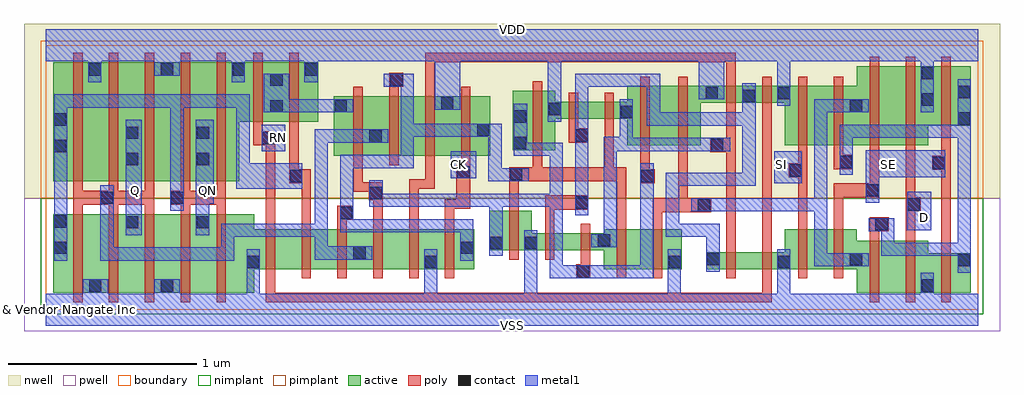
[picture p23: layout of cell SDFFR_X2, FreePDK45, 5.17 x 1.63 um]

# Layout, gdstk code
import gdstk
lib = gdstk.Library(unit=1e-6, precision=1e-10)
def R(c, l, rs):  # rectangles x0, y0, x1, y1
    for r in rs: c.add(gdstk.rectangle(r[:2], r[2:], *l))
def A(c, l, x, y, w, h, nx, ny, dx, dy):  # array of equal rectangles
    R(c, l, [(x+i*dx, y+j*dy, x+i*dx+w, y+j*dy+h) for i in range(nx) for j in range(ny)])
def P(c, l, *ps):  # polygons
    for p in ps: c.add(gdstk.Polygon(p, *l))
active = (1, 0)
pwell = (2, 0)
nwell = (3, 0)
nimplant = (4, 0)
pimplant = (5, 0)
poly = (9, 0)
contact = (10, 0)
metal1 = (11, 0)
boundary = (235, 0)

sdffr_x2 = lib.new_cell('SDFFR_X2')
R(sdffr_x2, active, [(1.525,0.815,2.355,1.13)])
P(sdffr_x2, active, [(0.04,0.68),(0.04,1.31),(1.445,1.31),(1.445,0.995),(1.025,0.995),(1.025,0.68)],
  [(0.04,0.09),(0.04,0.505),(1.105,0.505),(1.105,0.425),(2.27,0.425),(2.27,0.215),(1.105,0.215),(1.105,0.09)],
  [(2.955,0.215),(2.955,0.315),(2.35,0.315),(2.35,0.525),(2.575,0.525),(2.575,0.405),(2.955,0.405),(2.955,0.425),(3.37,0.425),(3.37,0.215)],
  [(4.295,0.09),(4.295,0.215),(3.5,0.215),(3.5,0.305),(3.915,0.305),(3.915,0.425),(4.295,0.425),(4.295,0.365),(4.675,0.365),(4.675,0.3),(4.9,0.3),(4.9,0.09)],
  [(2.475,0.845),(2.475,1.16),(2.7,1.16),(2.7,1.1),(3.08,1.1),(3.08,1.185),(4.295,1.185),(4.295,1.29),(4.9,1.29),(4.9,0.975),(4.675,0.975),(4.675,0.87),(3.915,0.87),(3.915,1.095),(3.47,1.095),(3.47,0.87),(3.08,0.87),(3.08,1.01),(2.7,1.01),(2.7,0.845)])
R(sdffr_x2, pwell, [(-0.115,-0.115,5.055,0.59)])
R(sdffr_x2, nwell, [(-0.115,0.59,5.055,1.515)])
R(sdffr_x2, nimplant, [(-0.025,-0.025,4.965,0.59)])
R(sdffr_x2, pimplant, [(-0.025,0.59,4.965,1.425)])
P(sdffr_x2, poly, [(0.145,0.04),(0.145,1.36),(0.195,1.36),(0.195,0.63),(0.335,0.63),(0.335,1.36),(0.385,1.36),(0.385,0.63),(0.525,0.63),(0.525,1.36),(0.575,1.36),(0.575,0.04),(0.525,0.04),(0.525,0.555),(0.385,0.555),(0.385,0.04),(0.335,0.04),(0.335,0.555),(0.195,0.555),(0.195,0.04)],
  [(0.715,0.04),(0.715,0.555),(0.66,0.555),(0.66,0.63),(0.715,0.63),(0.715,1.36),(0.765,1.36),(0.765,0.63),(0.905,0.63),(0.905,1.36),(0.955,1.36),(0.955,0.04),(0.905,0.04),(0.905,0.555),(0.765,0.555),(0.765,0.04)],
  [(1.355,0.165),(1.355,0.67),(1.29,0.67),(1.29,1.36),(1.34,1.36),(1.34,0.745),(1.405,0.745),(1.405,0.165)],
  [(1.545,0.165),(1.545,0.55),(1.63,0.55),(1.63,0.475),(1.595,0.475),(1.595,0.165)],
  [(1.735,0.165),(1.735,0.58),(1.71,0.58),(1.71,0.625),(1.63,0.625),(1.63,1.18),(1.68,1.18),(1.68,0.675),(1.785,0.675),(1.785,0.165)],
  [(1.82,0.765),(1.82,1.255),(1.895,1.255),(1.895,1.18),(1.87,1.18),(1.87,0.765)],
  [(2.115,0.165),(2.115,0.585),(2.175,0.585),(2.175,0.765),(2.2,0.765),(2.2,1.18),(2.25,1.18),(2.25,0.535),(2.165,0.535),(2.165,0.165)],
  [(2.645,0.265),(2.645,0.605),(2.875,0.605),(2.875,0.53),(2.695,0.53),(2.695,0.265)],
  [(2.77,0.885),(2.77,1.15),(2.82,1.15),(2.82,0.96),(2.875,0.96),(2.875,0.885)],
  [(2.81,0.165),(2.81,0.24),(2.835,0.24),(2.835,0.455),(2.885,0.455),(2.885,0.165)],
  [(3.025,0.165),(3.025,0.68),(2.505,0.68),(2.505,0.265),(2.455,0.265),(2.455,0.755),(2.58,0.755),(2.58,1.21),(2.63,1.21),(2.63,0.755),(2.96,0.755),(2.96,1.15),(3.01,1.15),(3.01,0.755),(3.075,0.755),(3.075,0.165)],
  [(3.15,0.67),(3.15,1.235),(3.2,1.235),(3.2,0.745),(3.225,0.745),(3.225,0.67)],
  [(3.215,0.165),(3.215,0.59),(3.35,0.59),(3.35,1.235),(3.4,1.235),(3.4,0.59),(3.525,0.59),(3.525,0.515),(3.265,0.515),(3.265,0.165)],
  [(1.925,0.165),(1.925,0.69),(2.01,0.69),(2.01,1.36),(3.655,1.36),(3.655,0.165),(3.605,0.165),(3.605,0.835),(3.52,0.835),(3.52,0.91),(3.605,0.91),(3.605,1.31),(2.06,1.31),(2.06,0.64),(1.975,0.64),(1.975,0.165)],
  [(1.165,0.04),(1.165,0.87),(1.1,0.87),(1.1,1.36),(1.15,1.36),(1.15,0.945),(1.215,0.945),(1.215,0.09),(3.795,0.09),(3.795,1.235),(3.845,1.235),(3.845,0.04)],
  [(3.985,0.165),(3.985,0.7),(3.935,0.7),(3.935,0.775),(3.985,0.775),(3.985,1.235),(4.035,1.235),(4.035,0.165)],
  [(4.175,0.745),(4.175,1.235),(4.225,1.235),(4.225,0.82),(4.275,0.82),(4.275,0.745)],
  [(4.175,0.165),(4.175,0.67),(4.365,0.67),(4.365,1.34),(4.415,1.34),(4.415,0.595),(4.225,0.595),(4.225,0.165)],
  [(4.365,0.04),(4.365,0.49),(4.465,0.49),(4.465,0.415),(4.415,0.415),(4.415,0.04)],
  [(4.555,0.04),(4.555,1.34),(4.605,1.34),(4.605,0.595),(4.635,0.595),(4.635,0.52),(4.605,0.52),(4.605,0.04)],
  [(4.745,0.04),(4.745,0.74),(4.695,0.74),(4.695,0.815),(4.745,0.815),(4.745,1.34),(4.795,1.34),(4.795,0.04)])
A(sdffr_x2, contact, 0.23, 1.24, 0.065, 0.065, 3, 1, 0.38, 0)
R(sdffr_x2, contact, [(0.23,0.095,0.295,0.16), (0.61,0.095,0.675,0.16), (4.64,0.095,4.705,0.16), (2.815,0.17,2.88,0.235), (1.065,0.22,1.13,0.285), (2.01,0.22,2.075,0.285), (3.3,0.22,3.365,0.285), (3.88,0.22,3.945,0.285), (4.83,0.23,4.895,0.295), (3.505,0.235,3.57,0.3), (4.26,0.235,4.325,0.3), (1.63,0.27,1.695,0.335), (0.045,0.295,0.11,0.36), (2.2,0.295,2.265,0.36), (2.355,0.32,2.42,0.385), (2.54,0.32,2.605,0.385), (2.925,0.335,2.99,0.4), (4.395,0.42,4.46,0.485), (0.425,0.43,0.49,0.495), (0.8,0.43,0.865,0.495), (0.045,0.435,0.11,0.5), (1.56,0.48,1.625,0.545), (3.455,0.52,3.52,0.585), (4.565,0.525,4.63,0.59), (2.805,0.535,2.87,0.6), (0.29,0.56,0.355,0.625), (0.665,0.56,0.73,0.625), (1.715,0.585,1.78,0.65), (4.345,0.6,4.41,0.665), (1.295,0.675,1.36,0.74), (3.155,0.675,3.22,0.74), (2.46,0.685,2.525,0.75), (2.18,0.695,2.245,0.76), (3.94,0.705,4.005,0.77), (4.7,0.745,4.765,0.81), (4.205,0.75,4.27,0.815), (0.425,0.765,0.49,0.83), (0.8,0.765,0.865,0.83), (0.045,0.835,0.11,0.9), (3.525,0.84,3.59,0.905), (2.48,0.85,2.545,0.915), (1.145,0.875,1.21,0.94), (1.715,0.885,1.78,0.95), (2.805,0.89,2.87,0.955), (0.425,0.905,0.49,0.97), (0.8,0.905,0.865,0.97), (2.285,0.92,2.35,0.985), (0.045,0.975,0.11,1.04), (4.83,0.98,4.895,1.045), (2.48,0.99,2.545,1.055), (3.045,1.015,3.11,1.08), (2.665,1.03,2.73,1.095), (1.19,1.045,1.255,1.11), (1.53,1.045,1.595,1.11), (4.26,1.045,4.325,1.11), (2.095,1.06,2.16,1.125), (4.64,1.08,4.705,1.145), (3.69,1.1,3.755,1.165), (3.495,1.115,3.56,1.18), (3.88,1.115,3.945,1.18), (4.83,1.12,4.895,1.185), (1.19,1.185,1.255,1.25), (1.825,1.185,1.89,1.25), (4.64,1.22,4.705,1.285), (1.375,1.24,1.44,1.305)])
R(sdffr_x2, metal1, [(0.425,0.395,0.51,1.005), (4.565,0.42,4.69,0.625), (3.86,0.67,4.005,0.84), (2.145,0.695,2.28,0.84), (1.145,0.84,1.27,0.98)])
P(sdffr_x2, metal1, [(0.795,0.395),(0.795,1.005),(0.89,1.005),(0.89,0.56),(0.865,0.56),(0.865,0.395)],
  [(0.045,0.26),(0.045,1.14),(1.08,1.14),(1.08,0.775),(1.36,0.775),(1.36,0.64),(1.01,0.64),(1.01,1.07),(0.73,1.07),(0.73,0.525),(0.66,0.525),(0.66,1.07),(0.115,1.07),(0.115,0.26)],
  [(1.155,1.045),(1.155,1.25),(1.29,1.25),(1.29,1.115),(1.63,1.115),(1.63,1.045)],
  [(0.29,0.26),(0.29,0.66),(0.36,0.66),(0.36,0.33),(0.93,0.33),(0.93,0.455),(1.425,0.455),(1.425,0.955),(1.815,0.955),(1.815,0.885),(1.495,0.885),(1.495,0.335),(1.73,0.335),(1.73,0.265),(1.425,0.265),(1.425,0.385),(1,0.385),(1,0.26)],
  [(2.195,0.26),(2.195,0.41),(1.56,0.41),(1.56,0.82),(1.88,0.82),(1.88,1.18),(1.79,1.18),(1.79,1.25),(1.95,1.25),(1.95,0.985),(2.415,0.985),(2.415,0.75),(2.56,0.75),(2.56,0.68),(2.345,0.68),(2.345,0.915),(1.95,0.915),(1.95,0.75),(1.63,0.75),(1.63,0.48),(2.265,0.48),(2.265,0.26)],
  [(2.67,0.165),(2.67,0.545),(2.42,0.545),(2.42,0.285),(2.35,0.285),(2.35,0.545),(1.715,0.545),(1.715,0.685),(1.785,0.685),(1.785,0.615),(2.67,0.615),(2.67,0.815),(2.48,0.815),(2.48,1.09),(2.55,1.09),(2.55,0.885),(2.74,0.885),(2.74,0.235),(3.15,0.235),(3.15,0.775),(3.22,0.775),(3.22,0.165)],
  [(2.89,0.33),(2.89,0.4),(2.955,0.4),(2.955,0.915),(3.04,0.915),(3.04,1.115),(3.11,1.115),(3.11,0.91),(3.625,0.91),(3.625,0.84),(3.025,0.84),(3.025,0.33)],
  [(3.5,0.2),(3.5,0.385),(3.285,0.385),(3.285,0.725),(3.69,0.725),(3.69,0.975),(3.185,0.975),(3.185,1.18),(2.875,1.18),(2.875,0.5),(2.805,0.5),(2.805,1.25),(3.255,1.25),(3.255,1.045),(3.69,1.045),(3.69,1.2),(3.76,1.2),(3.76,0.655),(3.355,0.655),(3.355,0.455),(3.57,0.455),(3.57,0.2)],
  [(4.07,0.23),(4.07,0.52),(3.42,0.52),(3.42,0.59),(4.07,0.59),(4.07,1.115),(4.36,1.115),(4.36,1.045),(4.14,1.045),(4.14,0.3),(4.36,0.3),(4.36,0.23)],
  [(4.345,0.565),(4.345,0.845),(4.765,0.845),(4.765,0.7),(4.415,0.7),(4.415,0.565)],
  [(4.83,0.195),(4.83,0.285),(4.425,0.285),(4.425,0.415),(4.36,0.415),(4.36,0.485),(4.495,0.485),(4.495,0.355),(4.83,0.355),(4.83,0.91),(4.275,0.91),(4.275,0.715),(4.205,0.715),(4.205,0.98),(4.83,0.98),(4.83,1.22),(4.9,1.22),(4.9,0.195)],
  [(0,-0.085),(0,0.085),(0.195,0.085),(0.195,0.16),(0.33,0.16),(0.33,0.085),(0.575,0.085),(0.575,0.16),(0.71,0.16),(0.71,0.085),(1.065,0.085),(1.065,0.32),(1.135,0.32),(1.135,0.085),(2.005,0.085),(2.005,0.32),(2.075,0.32),(2.075,0.085),(2.535,0.085),(2.535,0.42),(2.605,0.42),(2.605,0.085),(3.295,0.085),(3.295,0.32),(3.365,0.32),(3.365,0.085),(3.875,0.085),(3.875,0.32),(3.945,0.32),(3.945,0.085),(4.635,0.085),(4.635,0.195),(4.705,0.195),(4.705,0.085),(4.94,0.085),(4.94,-0.085)],
  [(2.66,0.995),(2.66,1.315),(2.195,1.315),(2.195,1.06),(2.06,1.06),(2.06,1.315),(1.44,1.315),(1.44,1.205),(1.37,1.205),(1.37,1.315),(1.055,1.315),(1.055,1.205),(0.985,1.205),(0.985,1.315),(0.71,1.315),(0.71,1.24),(0.575,1.24),(0.575,1.315),(0.295,1.315),(0.295,1.205),(0.225,1.205),(0.225,1.315),(0,1.315),(0,1.485),(4.94,1.485),(4.94,1.315),(4.705,1.315),(4.705,1.045),(4.635,1.045),(4.635,1.315),(3.945,1.315),(3.945,1.08),(3.875,1.08),(3.875,1.315),(3.595,1.315),(3.595,1.115),(3.46,1.115),(3.46,1.315),(2.73,1.315),(2.73,0.995)])
R(sdffr_x2, boundary, [(0,0,4.94,1.4)])
sdffr_x2.add(gdstk.Label('CK', (2.185,0.77), layer=11, texttype=0))
sdffr_x2.add(gdstk.Label('D', (4.655,0.49), layer=11, texttype=0))
sdffr_x2.add(gdstk.Label('Q', (0.475,0.63), layer=11, texttype=0))
sdffr_x2.add(gdstk.Label('QN', (0.855,0.63), layer=11, texttype=0))
sdffr_x2.add(gdstk.Label('RN', (1.235,0.91), layer=11, texttype=0))
sdffr_x2.add(gdstk.Label('SE', (4.465,0.77), layer=11, texttype=0))
sdffr_x2.add(gdstk.Label('SI', (3.895,0.77), layer=11, texttype=0))
sdffr_x2.add(gdstk.Label('VDD', (2.47,1.485), layer=11, texttype=0))
sdffr_x2.add(gdstk.Label('VSS', (2.47,-0.085), layer=11, texttype=0))
sdffr_x2.add(gdstk.Label('& Vendor Nangate Inc', (0,0), layer=63, texttype=63))
sdffr_x2.add(gdstk.Label('& Product Open Cell Library', (0,0), layer=63, texttype=63))
sdffr_x2.add(gdstk.Label('& Version 2010_12', (0,0), layer=63, texttype=63))
sdffr_x2.add(gdstk.Label('& Instance SDFFR_X2', (0,0), layer=63, texttype=63))

lib.write_gds('SDFFR_X2.gds')
